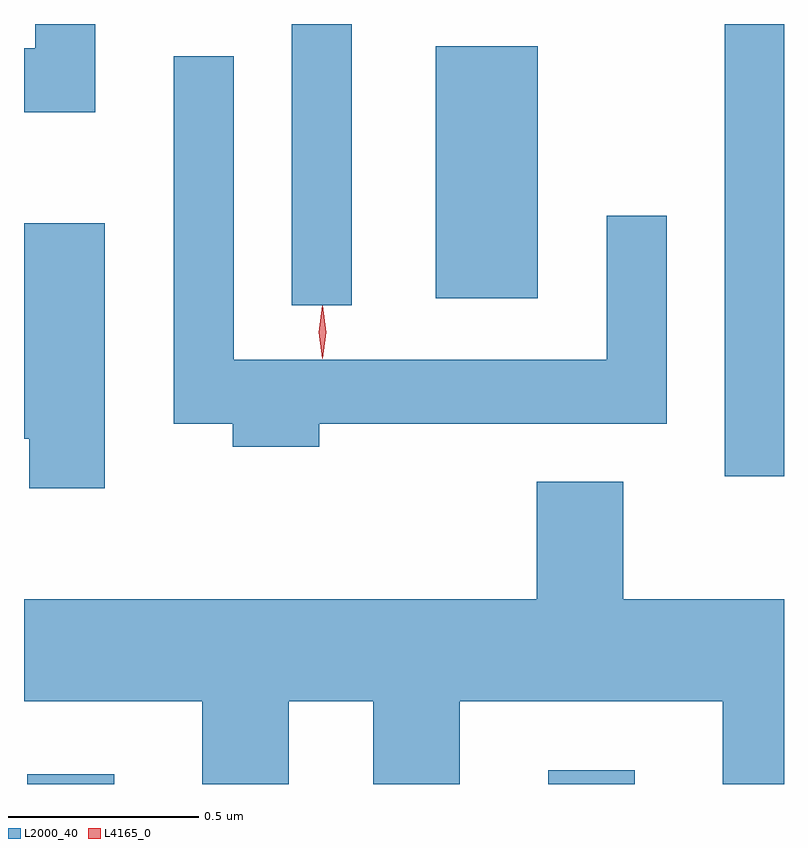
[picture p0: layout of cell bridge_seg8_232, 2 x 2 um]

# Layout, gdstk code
import gdstk
lib = gdstk.Library(unit=1e-6, precision=1e-09)
def R(c, l, rs):  # rectangles x0, y0, x1, y1
    for r in rs: c.add(gdstk.rectangle(r[:2], r[2:], *l))
def P(c, l, *ps):  # polygons
    for p in ps: c.add(gdstk.Polygon(p, *l))
L2000_40 = (2000, 40)
L4165_0 = (4165, 0)

bridge_seg8_232 = lib.new_cell('bridge_seg8_232')
R(bridge_seg8_232, L2000_40, [(1138.441,1929.438,1138.669,1929.464), (1139.811,1929.438,1140.039,1929.474), (1140.276,1930.248,1140.432,1931.438), (1139.136,1930.698,1139.294,1931.438), (1139.516,1930.716,1139.784,1931.379)])
P(bridge_seg8_232, L2000_40, [(1138.619,1931.438),(1138.461,1931.438),(1138.461,1931.374),(1138.432,1931.374),(1138.432,1931.206),(1138.619,1931.206)],
  [(1139.209,1930.386),(1140.124,1930.386),(1140.124,1930.933),(1139.966,1930.933),(1139.966,1930.554),(1138.984,1930.554),(1138.984,1931.353),(1138.826,1931.353),(1138.826,1930.386),(1138.981,1930.386),(1138.981,1930.326),(1139.209,1930.326)],
  [(1138.644,1930.914),(1138.432,1930.914),(1138.432,1930.346),(1138.446,1930.346),(1138.446,1930.216),(1138.644,1930.216)],
  [(1139.129,1929.656),(1139.351,1929.656),(1139.351,1929.438),(1139.579,1929.438),(1139.579,1929.656),(1140.271,1929.656),(1140.271,1929.438),(1140.432,1929.438),(1140.432,1929.924),(1140.009,1929.924),(1140.009,1930.234),(1139.781,1930.234),(1139.781,1929.924),(1138.432,1929.924),(1138.432,1929.656),(1138.901,1929.656),(1138.901,1929.438),(1139.129,1929.438)])
P(bridge_seg8_232, L4165_0, [(1139.217,1930.557),(1139.217,1930.558),(1139.207,1930.627),(1139.217,1930.696),(1139.217,1930.696),(1139.218,1930.696),(1139.227,1930.627),(1139.218,1930.558)])

lib.write_gds('bridge_seg8_232.gds')
